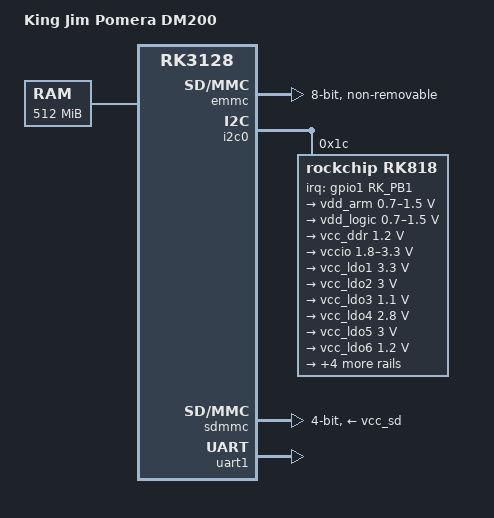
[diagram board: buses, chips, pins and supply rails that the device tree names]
// SPDX-License-Identifier: (GPL-2.0+ OR MIT)

/dts-v1/;

#include "rk3128.dtsi"

/ {
	model = "King Jim Pomera DM200";
	compatible = "kingjim,pomera-dm200", "rockchip,rk3128";

	aliases {
		mmc0 = &emmc;
		mmc1 = &sdmmc;
	};

	chosen {
		stdout-path = &uart1;
	};

	memory@60000000 {
		device_type = "memory";
		reg = <0x60000000 0x20000000>;
	};
};

&cpu0 {
	cpu-supply = <&vdd_arm>;
};

&emmc {
	bus-width = <8>;
	cap-mmc-highspeed;
	max-frequency = <50000000>;
	mmc-ddr-3_3v;
	no-sd;
	no-sdio;
	non-removable;
	pinctrl-names = "default";
	pinctrl-0 = <&emmc_clk &emmc_cmd &emmc_bus8>;
	status = "okay";
};

&gpu {
	mali-supply = <&vdd_logic>;
};

&i2c0 {
	status = "okay";

	rk818: pmic@1c {
		compatible = "rockchip,rk818";
		reg = <0x1c>;
		interrupt-parent = <&gpio1>;
		interrupts = <RK_PB1 IRQ_TYPE_LEVEL_LOW>;
		system-power-controller;
		wakeup-source;
		#clock-cells = <1>;

		regulators {
			vdd_arm: DCDC_REG1 {
				regulator-name = "vdd_arm";
				regulator-always-on;
				regulator-boot-on;
				regulator-min-microvolt = <700000>;
				regulator-max-microvolt = <1500000>;
			};

			vdd_logic: DCDC_REG2 {
				regulator-name = "vdd_logic";
				regulator-always-on;
				regulator-boot-on;
				regulator-min-microvolt = <700000>;
				regulator-max-microvolt = <1500000>;
			};

			vcc_ddr: DCDC_REG3 {
				regulator-name = "vcc_ddr";
				regulator-always-on;
				regulator-boot-on;
				regulator-min-microvolt = <1200000>;
				regulator-max-microvolt = <1200000>;
			};

			vccio: DCDC_REG4 {
				regulator-name = "vccio";
				regulator-always-on;
				regulator-boot-on;
				regulator-min-microvolt = <1800000>;
				regulator-max-microvolt = <3300000>;
			};

			vcc_ldo1: LDO_REG1 {
				regulator-name = "rk818_ldo1";
				regulator-always-on;
				regulator-boot-on;
				regulator-min-microvolt = <3300000>;
				regulator-max-microvolt = <3300000>;
			};

			vcc_ldo2: LDO_REG2 {
				regulator-name = "rk818_ldo2";
				regulator-always-on;
				regulator-boot-on;
				regulator-min-microvolt = <3000000>;
				regulator-max-microvolt = <3000000>;
			};

			vcc_ldo3: LDO_REG3 {
				regulator-name = "rk818_ldo3";
				regulator-always-on;
				regulator-boot-on;
				regulator-min-microvolt = <1100000>;
				regulator-max-microvolt = <1100000>;
			};

			vcc_ldo4: LDO_REG4 {
				regulator-name = "rk818_ldo4";
				regulator-always-on;
				regulator-boot-on;
				regulator-min-microvolt = <2800000>;
				regulator-max-microvolt = <2800000>;
			};

			vcc_ldo5: LDO_REG5 {
				regulator-name = "rk818_ldo5";
				regulator-always-on;
				regulator-boot-on;
				regulator-min-microvolt = <3000000>;
				regulator-max-microvolt = <3000000>;
			};

			vcc_ldo6: LDO_REG6 {
				regulator-name = "rk818_ldo6";
				regulator-always-on;
				regulator-boot-on;
				regulator-min-microvolt = <1200000>;
				regulator-max-microvolt = <1200000>;
			};

			vcc_ldo7: LDO_REG7 {
				regulator-name = "rk818_ldo7";
				regulator-always-on;
				regulator-boot-on;
				regulator-min-microvolt = <1800000>;
				regulator-max-microvolt = <1800000>;
			};

			vcc_ldo8: LDO_REG8 {
				regulator-name = "rk818_ldo8";
				regulator-always-on;
				regulator-boot-on;
				regulator-min-microvolt = <3300000>;
				regulator-max-microvolt = <3300000>;
			};

			vcc_sd: LDO_REG9 {
				regulator-name = "vcc_sd";
				regulator-always-on;
				regulator-boot-on;
				regulator-min-microvolt = <1800000>;
				regulator-max-microvolt = <3000000>;
			};

			vcc_switch: SWITCH_REG {
				regulator-name = "rk818_ldo10";
				regulator-always-on;
				regulator-boot-on;
			};
		};
	};
};

&pinctrl {
	pcfg_pull_up: pcfg-pull-up {
		bias-pull-up;
	};

	pmic {
		pmic_int: pmic-int {
			rockchip,pins = <1 RK_PB1 RK_FUNC_GPIO &pcfg_pull_up>;
		};
	};
};

&sdmmc {
	broken-cd;
	bus-width = <4>;
	cap-sd-highspeed;
	max-frequency = <37500000>;
	pinctrl-names = "default";
	pinctrl-0 = <&sdmmc_clk &sdmmc_cmd &sdmmc_bus4>;
	vmmc-supply = <&vcc_sd>;
	status = "okay";
};

/*
 * The on-board Broadcom Wi-Fi device is attached here.  Keep the bus
 * disabled until its shared Wi-Fi/Bluetooth power sequencing is described.
 */
&sdio {
	bus-width = <4>;
	cap-sdio-irq;
	keep-power-in-suspend;
	max-frequency = <50000000>;
	non-removable;
	pinctrl-names = "default";
	pinctrl-0 = <&sdio_clk &sdio_cmd &sdio_bus4>;
	status = "disabled";
};

&uart1 {
	status = "okay";
};
